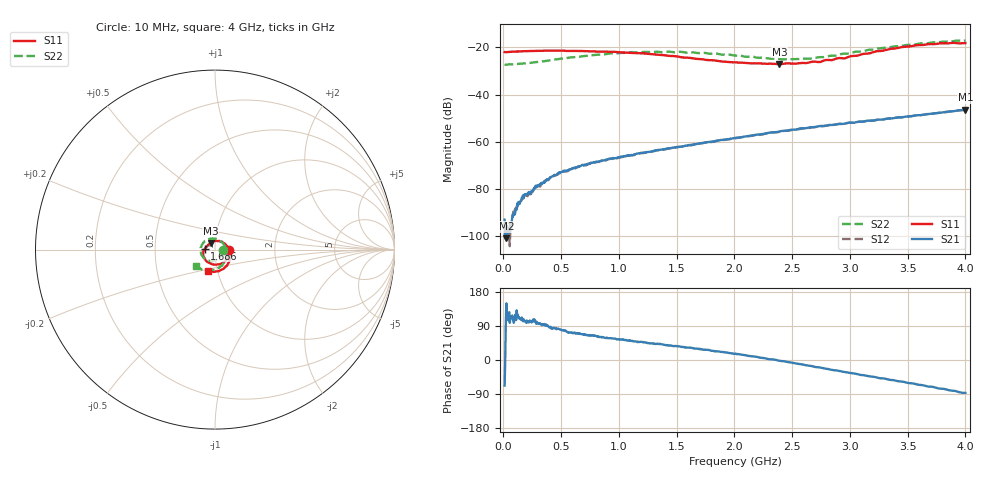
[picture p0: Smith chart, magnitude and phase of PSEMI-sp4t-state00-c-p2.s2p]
! 5/5/2016 4:46:23 PM
! C:\ANRITSUVNA\DATA\PSEMI-SP4T-STATE00-C-P2.S2P
! CHANNEL.1
! TR.MEASUREMENT
! CORRECTED.DATA
# GHZ S RI R 50.0
! FREQ.GHZ  S11RE  S11IM  S21RE  S21IM  S12RE  S12IM  S22RE  S22IM
!; PortSelection: Port_12
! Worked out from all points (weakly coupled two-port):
!   801 points, 10 MHz to 4 GHz, reference 50 ohm
!   highest |S21| = -46.42 dB at 4 GHz (marker M1); lowest = -101.0 dB at 24.96 MHz (marker M2)
!   lowest |S11| = -27.1 dB at 2.389 GHz (marker M3), VSWR 1.09, Z = 47.5 + j3.49 ohm
!   |S11| at or under -10 dB: start of sweep to end of sweep
!   |S22| runs from -27.3 to -17.0 dB; largest |S21 - S12| = 0.00013
!   S11 on the Smith chart (normalised r, x): 10 MHz: 1.17, -0.01; 1.686 GHz: 0.89, +0.01; 4 GHz: 0.90, -0.22
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0.01  0.0796 -0.0039  8.4e-06 -2.04e-05  -1.72e-05 6.5e-06  0.0437 -0.00302
0.0249625  0.0792 -0.00427  -7.7e-06 4.5e-06  9e-07 8.7e-06  0.0432 -0.00292
0.2494  0.0678 -0.0495  -1.79e-05 8.64e-05  -2.02e-05 8.55e-05  0.0353 -0.0318
0.30925  0.06 -0.0596  -1.43e-05 0.000121  -8.2e-06 0.000117  0.031 -0.0386
0.3641125  0.0516 -0.0677  -1.2e-06 0.000145  -6.2e-06 0.000151  0.026 -0.0444
0.418975  0.0427 -0.0742  1.82e-05 0.000182  1.64e-05 0.000176  0.0206 -0.0502
0.4838125  0.0304 -0.0797  3.52e-05 0.000222  4.25e-05 0.00021  0.0138 -0.0554
0.5137375  0.0254 -0.0815  4.66e-05 0.000224  4.99e-05 0.00023  0.0105 -0.0571
0.678325  -0.00589 -0.0836  0.000118 0.000293  0.00012 0.00029  -0.0115 -0.0633
0.9326875  -0.0443 -0.0669  0.000235 0.000367  0.000239 0.00036  -0.0456 -0.0587
1.341662  -0.0658 -0.0231  0.000485 0.000445  0.000487 0.000446  -0.0789 -0.0168
1.6858  -0.0566 0.00507  0.00078 0.000444  0.000795 0.000438  -0.0695 0.0302
2.005  -0.0436 0.0198  0.00115 0.000336  0.00113 0.000334  -0.0341 0.0581
2.389038  -0.0248 0.0367  0.00164 -5.67e-05  0.00162 -6.57e-05  0.0239 0.0513
2.62345  -0.00159 0.0466  0.00188 -0.000471  0.00188 -0.000445  0.0526 0.0243
2.673325  0.00504 0.0494  0.00195 -0.000577  0.00193 -0.000572  0.056 0.0152
2.733175  0.0125 0.0474  0.00201 -0.000721  0.00198 -0.000684  0.0617 0.00645
2.897762  0.0392 0.0443  0.00208 -0.00111  0.00208 -0.0011  0.0642 -0.0247
2.952625  0.0454 0.0372  0.00204 -0.00126  0.00204 -0.00126  0.0659 -0.0336
3.336663  0.0863 -0.0317  0.00191 -0.00243  0.00192 -0.00245  0.0273 -0.0964
3.685787  0.0468 -0.1077  0.00131 -0.00363  0.00127 -0.00364  -0.044 -0.1162
4  -0.0375 -0.1178  0.000271 -0.00477  0.000171 -0.00473  -0.108 -0.0898
